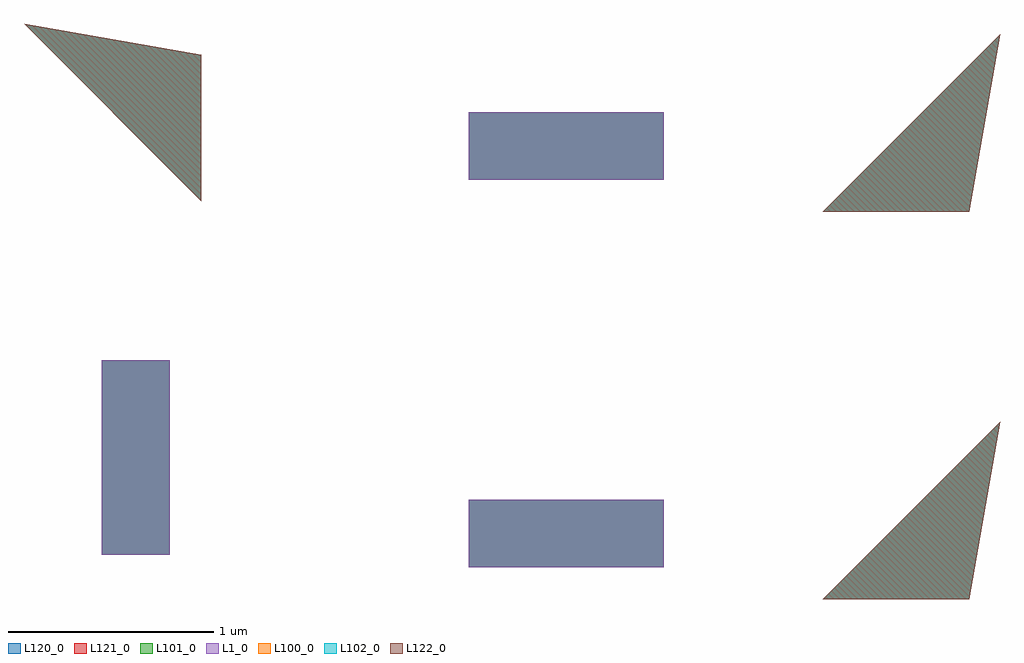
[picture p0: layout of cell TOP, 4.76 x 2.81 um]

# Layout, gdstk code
from math import pi, radians
import gdstk
lib = gdstk.Library(unit=1e-6, precision=1e-09)
def R(c, l, rs):  # rectangles x0, y0, x1, y1
    for r in rs: c.add(gdstk.rectangle(r[:2], r[2:], *l))
def P(c, l, *ps):  # polygons
    for p in ps: c.add(gdstk.Polygon(p, *l))
L1_0 = (1, 0)
L100_0 = (100, 0)
L101_0 = (101, 0)
L102_0 = (102, 0)
L120_0 = (120, 0)
L121_0 = (121, 0)
L122_0 = (122, 0)
L200_0 = (200, 0)
L201_0 = (201, 0)
L202_0 = (202, 0)
L203_0 = (203, 0)
L204_0 = (204, 0)
L205_0 = (205, 0)
L220_0 = (220, 0)
L221_0 = (221, 0)
L222_0 = (222, 0)
L223_0 = (223, 0)
L224_0 = (224, 0)
L225_0 = (225, 0)

c_c = lib.new_cell('C')
R(c_c, L1_0, [(-1.54,0.4,-0.59,0.73)])
P(c_c, L1_0, [(0.185,0.245),(1.05,1.11),(0.9,0.245)])
P(c_c, L100_0, [(0.185,0.245),(1.05,1.11),(0.9,0.245)])
P(c_c, L101_0, [(-1.54,0.4),(-1.54,0.73),(-0.59,0.73)],
  [(-0.59,0.4),(-1.54,0.73),(-0.59,0.73)],
  [(-1.54,0.4),(-0.59,0.73),(-0.59,0.4)],
  [(-1.54,0.4),(-1.54,0.73),(-0.59,0.4)])
P(c_c, L102_0, [(0.185,0.245),(1.05,1.11),(0.9,0.245)])
P(c_c, L120_0, [(0.185,0.245),(1.05,1.11),(0.9,0.245)],
  [(0.185,0.245),(1.05,1.11),(0.9,0.245)],
  [(-1.54,0.4),(-1.54,0.73),(-0.59,0.73)],
  [(-0.59,0.4),(-1.54,0.73),(-0.59,0.73)],
  [(-1.54,0.4),(-0.59,0.73),(-0.59,0.4)],
  [(-1.54,0.4),(-1.54,0.73),(-0.59,0.4)])
P(c_c, L121_0, [(0.185,0.245),(1.05,1.11),(0.9,0.245)],
  [(0.185,0.245),(1.05,1.11),(0.9,0.245)],
  [(0.185,0.245),(1.05,1.11),(0.9,0.245)])
P(c_c, L122_0, [(0.185,0.245),(1.05,1.11),(0.9,0.245)])

c_1 = lib.new_cell('C$1')
c_1.add(gdstk.FlexPath([(0.9,0.245),(0.185,0.245)], 0, ends="flush", simple_path=True, layer=201, datatype=0))  # L201_0
c_1.add(gdstk.FlexPath([(-1.54,0.73),(-0.59,0.73)], 0, ends="flush", simple_path=True, layer=201, datatype=0))  # L201_0
c_1.add(gdstk.FlexPath([(-0.59,0.4),(-1.54,0.4)], 0, ends="flush", simple_path=True, layer=201, datatype=0))  # L201_0
c_1.add(gdstk.FlexPath([(1.05,1.11),(0.9,0.245)], 0, ends="flush", simple_path=True, layer=202, datatype=0))  # L202_0
c_1.add(gdstk.FlexPath([(0.185,0.245),(1.05,1.11)], 0, ends="flush", simple_path=True, layer=202, datatype=0))  # L202_0
c_1.add(gdstk.FlexPath([(-0.59,0.73),(-0.59,0.4)], 0, ends="flush", simple_path=True, layer=202, datatype=0))  # L202_0
c_1.add(gdstk.FlexPath([(-1.54,0.4),(-1.54,0.73)], 0, ends="flush", simple_path=True, layer=202, datatype=0))  # L202_0
c_1.add(gdstk.FlexPath([(0.185,0.245),(1.05,1.11)], 0, ends="flush", simple_path=True, layer=203, datatype=0))  # L203_0
c_1.add(gdstk.FlexPath([(1.05,1.11),(0.9,0.245)], 0, ends="flush", simple_path=True, layer=204, datatype=0))  # L204_0
c_1.add(gdstk.FlexPath([(0.185,0.245),(1.05,1.11)], 0, ends="flush", simple_path=True, layer=204, datatype=0))  # L204_0
c_1.add(gdstk.FlexPath([(-0.59,0.73),(-0.59,0.4)], 0, ends="flush", simple_path=True, layer=204, datatype=0))  # L204_0
c_1.add(gdstk.FlexPath([(-1.54,0.4),(-1.54,0.73)], 0, ends="flush", simple_path=True, layer=204, datatype=0))  # L204_0
c_1.add(gdstk.FlexPath([(1.05,1.11),(0.9,0.245)], 0, ends="flush", simple_path=True, layer=205, datatype=0))  # L205_0
c_1.add(gdstk.FlexPath([(0.185,0.245),(1.05,1.11)], 0, ends="flush", simple_path=True, layer=205, datatype=0))  # L205_0
c_1.add(gdstk.FlexPath([(-0.59,0.73),(-0.59,0.4)], 0, ends="flush", simple_path=True, layer=205, datatype=0))  # L205_0
c_1.add(gdstk.FlexPath([(-1.54,0.4),(-1.54,0.73)], 0, ends="flush", simple_path=True, layer=205, datatype=0))  # L205_0
c_1.add(gdstk.FlexPath([(1.05,1.11),(0.9,0.245)], 0, ends="flush", simple_path=True, layer=220, datatype=0))  # L220_0
c_1.add(gdstk.FlexPath([(0.9,0.245),(0.185,0.245)], 0, ends="flush", simple_path=True, layer=220, datatype=0))  # L220_0
c_1.add(gdstk.FlexPath([(-1.54,0.73),(-0.59,0.73)], 0, ends="flush", simple_path=True, layer=220, datatype=0))  # L220_0
c_1.add(gdstk.FlexPath([(-0.59,0.73),(-0.59,0.4)], 0, ends="flush", simple_path=True, layer=220, datatype=0))  # L220_0
c_1.add(gdstk.FlexPath([(-0.59,0.4),(-1.54,0.4)], 0, ends="flush", simple_path=True, layer=220, datatype=0))  # L220_0
c_1.add(gdstk.FlexPath([(-1.54,0.4),(-1.54,0.73)], 0, ends="flush", simple_path=True, layer=220, datatype=0))  # L220_0
c_1.add(gdstk.FlexPath([(1.05,1.11),(0.9,0.245)], 0, ends="flush", simple_path=True, layer=221, datatype=0))  # L221_0
c_1.add(gdstk.FlexPath([(0.185,0.245),(1.05,1.11)], 0, ends="flush", simple_path=True, layer=221, datatype=0))  # L221_0
c_1.add(gdstk.FlexPath([(-0.59,0.73),(-0.59,0.4)], 0, ends="flush", simple_path=True, layer=221, datatype=0))  # L221_0
c_1.add(gdstk.FlexPath([(-1.54,0.4),(-1.54,0.73)], 0, ends="flush", simple_path=True, layer=221, datatype=0))  # L221_0
c_1.add(gdstk.FlexPath([(0.9,0.245),(0.185,0.245)], 0, ends="flush", simple_path=True, layer=222, datatype=0))  # L222_0
c_1.add(gdstk.FlexPath([(-1.54,0.73),(-0.59,0.73)], 0, ends="flush", simple_path=True, layer=222, datatype=0))  # L222_0
c_1.add(gdstk.FlexPath([(-0.59,0.4),(-1.54,0.4)], 0, ends="flush", simple_path=True, layer=222, datatype=0))  # L222_0
c_1.add(gdstk.FlexPath([(1.05,1.11),(0.9,0.245)], 0, ends="flush", simple_path=True, layer=223, datatype=0))  # L223_0
c_1.add(gdstk.FlexPath([(0.9,0.245),(0.185,0.245)], 0, ends="flush", simple_path=True, layer=223, datatype=0))  # L223_0
c_1.add(gdstk.FlexPath([(-1.54,0.73),(-0.59,0.73)], 0, ends="flush", simple_path=True, layer=223, datatype=0))  # L223_0
c_1.add(gdstk.FlexPath([(-0.59,0.73),(-0.59,0.4)], 0, ends="flush", simple_path=True, layer=223, datatype=0))  # L223_0
c_1.add(gdstk.FlexPath([(-0.59,0.4),(-1.54,0.4)], 0, ends="flush", simple_path=True, layer=223, datatype=0))  # L223_0
c_1.add(gdstk.FlexPath([(-1.54,0.4),(-1.54,0.73)], 0, ends="flush", simple_path=True, layer=223, datatype=0))  # L223_0
c_1.add(gdstk.FlexPath([(0.9,0.245),(0.185,0.245)], 0, ends="flush", simple_path=True, layer=224, datatype=0))  # L224_0
c_1.add(gdstk.FlexPath([(-1.54,0.73),(-0.59,0.73)], 0, ends="flush", simple_path=True, layer=224, datatype=0))  # L224_0
c_1.add(gdstk.FlexPath([(-0.59,0.4),(-1.54,0.4)], 0, ends="flush", simple_path=True, layer=224, datatype=0))  # L224_0
c_1.add(gdstk.FlexPath([(0.9,0.245),(0.185,0.245)], 0, ends="flush", simple_path=True, layer=225, datatype=0))  # L225_0
c_1.add(gdstk.FlexPath([(-1.54,0.73),(-0.59,0.73)], 0, ends="flush", simple_path=True, layer=225, datatype=0))  # L225_0
c_1.add(gdstk.FlexPath([(-0.59,0.4),(-1.54,0.4)], 0, ends="flush", simple_path=True, layer=225, datatype=0))  # L225_0
c_1.add(gdstk.FlexPath([(0.185,0.245),(1.05,1.11)], 0, ends="flush", simple_path=True, layer=200, datatype=0))  # L200_0

c_var1 = lib.new_cell('C$VAR1')
c_var1.add(gdstk.FlexPath([(-0.59,0.73),(-0.59,0.4)], 0, ends="flush", simple_path=True, layer=201, datatype=0))  # L201_0
c_var1.add(gdstk.FlexPath([(-1.54,0.4),(-1.54,0.73)], 0, ends="flush", simple_path=True, layer=201, datatype=0))  # L201_0
c_var1.add(gdstk.FlexPath([(0.9,0.245),(0.185,0.245)], 0, ends="flush", simple_path=True, layer=202, datatype=0))  # L202_0
c_var1.add(gdstk.FlexPath([(-1.54,0.73),(-0.59,0.73)], 0, ends="flush", simple_path=True, layer=202, datatype=0))  # L202_0
c_var1.add(gdstk.FlexPath([(-0.59,0.4),(-1.54,0.4)], 0, ends="flush", simple_path=True, layer=202, datatype=0))  # L202_0
c_var1.add(gdstk.FlexPath([(0.185,0.245),(1.05,1.11)], 0, ends="flush", simple_path=True, layer=203, datatype=0))  # L203_0
c_var1.add(gdstk.FlexPath([(0.9,0.245),(0.185,0.245)], 0, ends="flush", simple_path=True, layer=204, datatype=0))  # L204_0
c_var1.add(gdstk.FlexPath([(0.185,0.245),(1.05,1.11)], 0, ends="flush", simple_path=True, layer=204, datatype=0))  # L204_0
c_var1.add(gdstk.FlexPath([(-1.54,0.73),(-0.59,0.73)], 0, ends="flush", simple_path=True, layer=204, datatype=0))  # L204_0
c_var1.add(gdstk.FlexPath([(-0.59,0.4),(-1.54,0.4)], 0, ends="flush", simple_path=True, layer=204, datatype=0))  # L204_0
c_var1.add(gdstk.FlexPath([(0.9,0.245),(0.185,0.245)], 0, ends="flush", simple_path=True, layer=205, datatype=0))  # L205_0
c_var1.add(gdstk.FlexPath([(0.185,0.245),(1.05,1.11)], 0, ends="flush", simple_path=True, layer=205, datatype=0))  # L205_0
c_var1.add(gdstk.FlexPath([(-1.54,0.73),(-0.59,0.73)], 0, ends="flush", simple_path=True, layer=205, datatype=0))  # L205_0
c_var1.add(gdstk.FlexPath([(-0.59,0.4),(-1.54,0.4)], 0, ends="flush", simple_path=True, layer=205, datatype=0))  # L205_0
c_var1.add(gdstk.FlexPath([(1.05,1.11),(0.9,0.245)], 0, ends="flush", simple_path=True, layer=220, datatype=0))  # L220_0
c_var1.add(gdstk.FlexPath([(0.9,0.245),(0.185,0.245)], 0, ends="flush", simple_path=True, layer=220, datatype=0))  # L220_0
c_var1.add(gdstk.FlexPath([(0.185,0.245),(1.05,1.11)], 0, ends="flush", simple_path=True, layer=220, datatype=0))  # L220_0
c_var1.add(gdstk.FlexPath([(-1.54,0.73),(-0.59,0.73)], 0, ends="flush", simple_path=True, layer=220, datatype=0))  # L220_0
c_var1.add(gdstk.FlexPath([(-0.59,0.73),(-0.59,0.4)], 0, ends="flush", simple_path=True, layer=220, datatype=0))  # L220_0
c_var1.add(gdstk.FlexPath([(-0.59,0.4),(-1.54,0.4)], 0, ends="flush", simple_path=True, layer=220, datatype=0))  # L220_0
c_var1.add(gdstk.FlexPath([(-1.54,0.4),(-1.54,0.73)], 0, ends="flush", simple_path=True, layer=220, datatype=0))  # L220_0
c_var1.add(gdstk.FlexPath([(1.05,1.11),(0.9,0.245)], 0, ends="flush", simple_path=True, layer=221, datatype=0))  # L221_0
c_var1.add(gdstk.FlexPath([(0.9,0.245),(0.185,0.245)], 0, ends="flush", simple_path=True, layer=221, datatype=0))  # L221_0
c_var1.add(gdstk.FlexPath([(0.185,0.245),(1.05,1.11)], 0, ends="flush", simple_path=True, layer=221, datatype=0))  # L221_0
c_var1.add(gdstk.FlexPath([(-1.54,0.73),(-0.59,0.73)], 0, ends="flush", simple_path=True, layer=221, datatype=0))  # L221_0
c_var1.add(gdstk.FlexPath([(-0.59,0.4),(-1.54,0.4)], 0, ends="flush", simple_path=True, layer=221, datatype=0))  # L221_0
c_var1.add(gdstk.FlexPath([(1.05,1.11),(0.9,0.245)], 0, ends="flush", simple_path=True, layer=222, datatype=0))  # L222_0
c_var1.add(gdstk.FlexPath([(0.185,0.245),(1.05,1.11)], 0, ends="flush", simple_path=True, layer=222, datatype=0))  # L222_0
c_var1.add(gdstk.FlexPath([(-0.59,0.73),(-0.59,0.4)], 0, ends="flush", simple_path=True, layer=222, datatype=0))  # L222_0
c_var1.add(gdstk.FlexPath([(-1.54,0.4),(-1.54,0.73)], 0, ends="flush", simple_path=True, layer=222, datatype=0))  # L222_0
c_var1.add(gdstk.FlexPath([(1.05,1.11),(0.9,0.245)], 0, ends="flush", simple_path=True, layer=223, datatype=0))  # L223_0
c_var1.add(gdstk.FlexPath([(0.9,0.245),(0.185,0.245)], 0, ends="flush", simple_path=True, layer=223, datatype=0))  # L223_0
c_var1.add(gdstk.FlexPath([(-1.54,0.73),(-0.59,0.73)], 0, ends="flush", simple_path=True, layer=223, datatype=0))  # L223_0
c_var1.add(gdstk.FlexPath([(-0.59,0.73),(-0.59,0.4)], 0, ends="flush", simple_path=True, layer=223, datatype=0))  # L223_0
c_var1.add(gdstk.FlexPath([(-0.59,0.4),(-1.54,0.4)], 0, ends="flush", simple_path=True, layer=223, datatype=0))  # L223_0
c_var1.add(gdstk.FlexPath([(-1.54,0.4),(-1.54,0.73)], 0, ends="flush", simple_path=True, layer=223, datatype=0))  # L223_0
c_var1.add(gdstk.FlexPath([(1.05,1.11),(0.9,0.245)], 0, ends="flush", simple_path=True, layer=224, datatype=0))  # L224_0
c_var1.add(gdstk.FlexPath([(-0.59,0.73),(-0.59,0.4)], 0, ends="flush", simple_path=True, layer=224, datatype=0))  # L224_0
c_var1.add(gdstk.FlexPath([(-1.54,0.4),(-1.54,0.73)], 0, ends="flush", simple_path=True, layer=224, datatype=0))  # L224_0
c_var1.add(gdstk.FlexPath([(1.05,1.11),(0.9,0.245)], 0, ends="flush", simple_path=True, layer=225, datatype=0))  # L225_0
c_var1.add(gdstk.FlexPath([(-0.59,0.73),(-0.59,0.4)], 0, ends="flush", simple_path=True, layer=225, datatype=0))  # L225_0
c_var1.add(gdstk.FlexPath([(-1.54,0.4),(-1.54,0.73)], 0, ends="flush", simple_path=True, layer=225, datatype=0))  # L225_0

top = lib.new_cell('TOP')
top.add(gdstk.Reference(c_c, (0.07,0.18)))
top.add(gdstk.Reference(c_c, (0.07,2.07)))
top.add(gdstk.Reference(c_c, (-2.53,2.18), rotation=pi/2))
top.add(gdstk.Reference(c_1, (0.07,0.18)))
top.add(gdstk.Reference(c_1, (0.07,2.07)))
top.add(gdstk.Reference(c_var1, (-2.53,2.18), rotation=pi/2))

lib.write_gds('TOP.gds')
